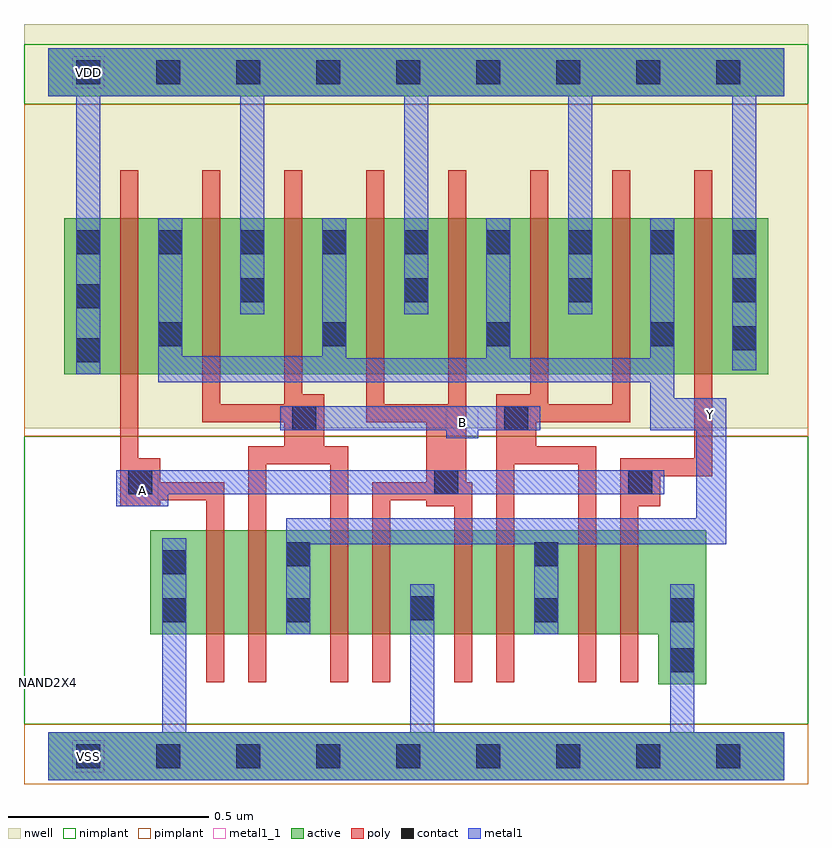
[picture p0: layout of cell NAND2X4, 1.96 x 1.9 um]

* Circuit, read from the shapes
.subckt NAND2X4 A B VDD VSS Y
M1 n1 A VSS VSS nfet w=0.26u l=0.045u
M2 Y B n1 VSS nfet w=0.26u l=0.045u
M3 n2 B Y VSS nfet w=0.26u l=0.045u
M4 VSS A n2 VSS nfet w=0.26u l=0.045u
M5 n3 A VSS VSS nfet w=0.26u l=0.045u
M6 Y B n3 VSS nfet w=0.26u l=0.045u
M7 n4 B Y VSS nfet w=0.26u l=0.045u
M8 VSS A n4 VSS nfet w=0.26u l=0.045u
M9 Y A VDD VDD pfet w=0.39u l=0.045u m=4
M10 VDD B Y VDD pfet w=0.39u l=0.045u m=4
.ends

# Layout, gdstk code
import gdstk
lib = gdstk.Library(unit=1e-6, precision=5e-10)
def R(c, l, rs):  # rectangles x0, y0, x1, y1
    for r in rs: c.add(gdstk.rectangle(r[:2], r[2:], *l))
def A(c, l, x, y, w, h, nx, ny, dx, dy):  # array of equal rectangles
    R(c, l, [(x+i*dx, y+j*dy, x+i*dx+w, y+j*dy+h) for i in range(nx) for j in range(ny)])
def P(c, l, *ps):  # polygons
    for p in ps: c.add(gdstk.Polygon(p, *l))
active = (1, 0)
nwell = (2, 0)
poly = (3, 0)
nimplant = (4, 0)
pimplant = (5, 0)
contact = (6, 0)
metal1 = (7, 0)
metal1_1 = (7, 1)

nand2x4 = lib.new_cell('NAND2X4')
R(nand2x4, active, [(0,-0.06,1.84,0.06), (0.04,0.955,1.8,1.345), (0,1.65,1.84,1.77)])
P(nand2x4, active, [(1.645,0.565),(0.255,0.565),(0.255,0.305),(1.525,0.305),(1.525,0.18),(1.645,0.18)])
R(nand2x4, nwell, [(-0.06,0.82,1.9,1.83)])
P(nand2x4, poly, [(0.18,1.465),(0.225,1.465),(0.225,0.745),(0.28,0.745),(0.28,0.685),(0.44,0.685),(0.44,0.185),(0.395,0.185),(0.395,0.64),(0.28,0.64),(0.28,0.625),(0.18,0.625)],
  [(0.385,1.465),(0.43,1.465),(0.43,0.88),(0.59,0.88),(0.59,1.465),(0.635,1.465),(0.635,0.905),(0.69,0.905),(0.69,0.775),(0.75,0.775),(0.75,0.185),(0.705,0.185),(0.705,0.73),(0.545,0.73),(0.545,0.185),(0.5,0.185),(0.5,0.775),(0.59,0.775),(0.59,0.835),(0.385,0.835)],
  [(0.795,1.465),(0.84,1.465),(0.84,0.88),(1,0.88),(1,1.465),(1.045,1.465),(1.045,0.685),(1.06,0.685),(1.06,0.185),(1.015,0.185),(1.015,0.625),(0.945,0.625),(0.945,0.64),(0.855,0.64),(0.855,0.185),(0.81,0.185),(0.81,0.685),(0.945,0.685),(0.945,0.835),(0.795,0.835)],
  [(1.205,1.465),(1.25,1.465),(1.25,0.88),(1.41,0.88),(1.41,1.465),(1.455,1.465),(1.455,0.835),(1.22,0.835),(1.22,0.775),(1.37,0.775),(1.37,0.185),(1.325,0.185),(1.325,0.73),(1.165,0.73),(1.165,0.185),(1.12,0.185),(1.12,0.905),(1.205,0.905)],
  [(1.615,1.465),(1.66,1.465),(1.66,0.7),(1.53,0.7),(1.53,0.625),(1.475,0.625),(1.475,0.185),(1.43,0.185),(1.43,0.745),(1.615,0.745)])
R(nand2x4, nimplant, [(-0.06,0.08,1.9,0.8), (-0.06,1.63,1.9,1.78)])
R(nand2x4, pimplant, [(-0.06,-0.07,1.9,0.08), (-0.06,0.8,1.9,1.63)])
A(nand2x4, contact, 0.07, -0.03, 0.06, 0.06, 9, 2, 0.2, 1.71)
A(nand2x4, contact, 0.275, 1.025, 0.06, 0.06, 4, 1, 0.41, 0)
A(nand2x4, contact, 0.48, 1.135, 0.06, 0.06, 4, 1, 0.41, 0)
A(nand2x4, contact, 0.07, 1.255, 0.06, 0.06, 9, 1, 0.205, 0)
R(nand2x4, contact, [(1.555,0.21,1.615,0.27), (0.285,0.335,0.345,0.395), (0.595,0.335,0.655,0.395), (1.215,0.335,1.275,0.395), (1.555,0.335,1.615,0.395), (0.905,0.34,0.965,0.4), (0.285,0.455,0.345,0.515), (0.595,0.475,0.655,0.535), (1.215,0.475,1.275,0.535), (0.2,0.655,0.26,0.715), (0.965,0.655,1.025,0.715), (1.45,0.655,1.51,0.715), (0.61,0.815,0.67,0.875), (1.14,0.815,1.2,0.875), (0.07,0.985,0.13,1.045), (1.71,1.015,1.77,1.075), (0.07,1.12,0.13,1.18)])
R(nand2x4, metal1, [(0.995,0.795,1.075,0.875), (0.58,0.815,1.23,0.875)])
P(nand2x4, metal1, [(0.17,0.715),(1.54,0.715),(1.54,0.655),(0.3,0.655),(0.3,0.625),(0.17,0.625)],
  [(0.285,0.545),(0.345,0.545),(0.345,0.06),(0.905,0.06),(0.905,0.43),(0.965,0.43),(0.965,0.06),(1.555,0.06),(1.555,0.43),(1.615,0.43),(1.615,0.06),(1.84,0.06),(1.84,-0.06),(0,-0.06),(0,0.06),(0.285,0.06)],
  [(1.84,1.77),(0,1.77),(0,1.65),(0.07,1.65),(0.07,0.955),(0.13,0.955),(0.13,1.65),(0.48,1.65),(0.48,1.105),(0.54,1.105),(0.54,1.65),(0.89,1.65),(0.89,1.105),(0.95,1.105),(0.95,1.65),(1.3,1.65),(1.3,1.105),(1.36,1.105),(1.36,1.65),(1.71,1.65),(1.71,0.965),(1.77,0.965),(1.77,1.65),(1.84,1.65)],
  [(1.695,0.895),(1.565,0.895),(1.565,1.345),(1.505,1.345),(1.505,0.995),(1.155,0.995),(1.155,1.345),(1.095,1.345),(1.095,0.995),(0.745,0.995),(0.745,1.345),(0.685,1.345),(0.685,1),(0.335,1),(0.335,1.345),(0.275,1.345),(0.275,0.935),(1.505,0.935),(1.505,0.815),(1.62,0.815),(1.62,0.595),(0.595,0.595),(0.595,0.305),(0.655,0.305),(0.655,0.53),(1.215,0.53),(1.215,0.305),(1.275,0.305),(1.275,0.53),(1.695,0.53)])
R(nand2x4, metal1_1, [(0.06,-0.04,0.14,0.04), (0.195,0.625,0.275,0.705), (0.995,0.795,1.075,0.875), (1.615,0.815,1.695,0.895), (0.06,1.67,0.14,1.75)])
nand2x4.add(gdstk.Label('Y', (1.655,0.855), layer=7, texttype=1))
nand2x4.add(gdstk.Label('B', (1.035,0.835), layer=7, texttype=1))
nand2x4.add(gdstk.Label('A', (0.235,0.665), layer=7, texttype=1))
nand2x4.add(gdstk.Label('VDD', (0.1,1.71), layer=7, texttype=1))
nand2x4.add(gdstk.Label('VSS', (0.1,0), layer=7, texttype=1))
nand2x4.add(gdstk.Label('NAND2X4', (0,0.185), layer=63, texttype=0))

lib.write_gds('NAND2X4.gds')
